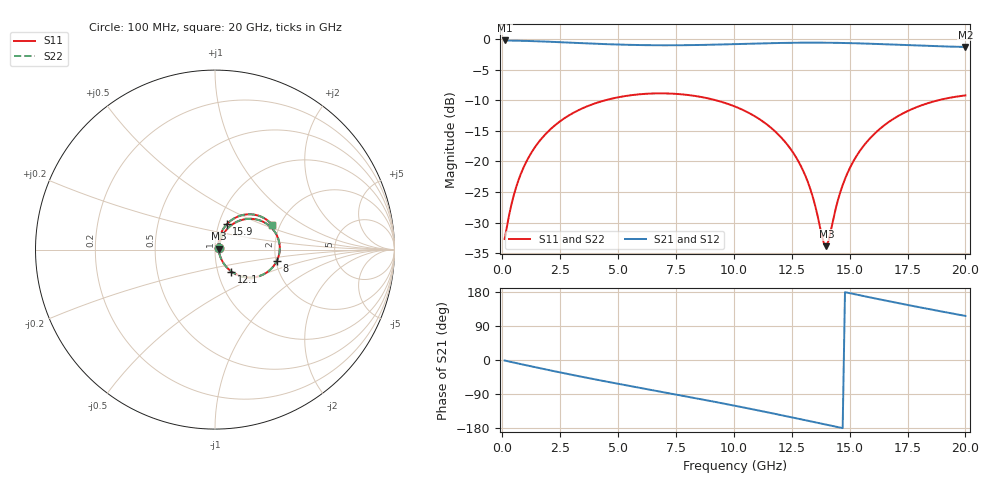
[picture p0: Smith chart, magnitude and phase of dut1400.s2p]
! Touchstone file exported from HFSS 2026.1.0
!  File:  C:/ffzhzh/LocalFiles/Ansys_Project_Files/temp_train_TSV_RDL_1400_1783351535_48288.aedt
!  Generated:  11:37:50 PM Jul  6, 2026
!  Design:  TSV_RDL
!  Project:  temp_train_TSV_RDL_1400_1783351535_48288
! Variables:
!  h_bsmrdl = 5.31um
!  h_ox = 20um
!  h_rdl = 5um
!  h_sub = 96.93um
!  h_tmrdl = 5.77um
!  h_tsv = 96.93um
!  h_via = 3um
!  l_bsmrdl = 519.03um
!  l_sub = 3790.12um
!  l_tmrdl = 441.48um
!  m_sub = 200um
!  pitch = 26.66um
!  r_tsv = 7.79um
!  s_tmrdl = 10um
!  w_bsmrdl = 11.93um
!  w_sub = 500um
!  w_tmrdl = 10.44um
!  x_tsv_center1 = 446.7um
!  x_tsv_center2 = 977.66um
!  x_tsv_center3 = 1429.58um
!  x_tsv_center4 = 1960.54um
!  x_tsv_center5 = 2412.46um
!  x_tsv_center6 = 2943.42um
# GHz S MA R 50.000000
! Terminal data exported
! Port[1] = TM_RDL1_1_T1
! Port[2] = TM_RDL5_1_T1
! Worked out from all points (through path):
!   200 points, 100 MHz to 20 GHz, reference 50 ohm
!   highest |S21| = -0.18 dB at 100 MHz (marker M1); lowest = -1.2 dB at 20 GHz (marker M2)
!   group delay of S21, straight-line fit = 33.7 ps
!   lowest |S11| = -33.9 dB at 14 GHz (marker M3), VSWR 1.04, Z = 52 + j0.459 ohm
!   |S11| at or under -10 dB: start of sweep to 4.423 GHz; 9.249 GHz to 18.8 GHz (9.554 GHz wide, 68.1 % of centre)
!   |S22| runs from -33.9 to -8.8 dB; largest |S21 - S12| = 3e-14
!   S11 on the Smith chart (normalised r, x): 100 MHz: 1.04, +0.02; 8 GHz: 2.03, -0.29; 12.1 GHz: 1.16, -0.29; 15.9 GHz: 1.09, +0.32; 20 GHz: 1.83, +0.56
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0.1  0.02318 24.9  0.9792 -1.4  0.9792 -1.4  0.02318 24.9
! Gamma 0 0 0 0
! Port Impedance 50 0 50 0
0.6  0.0618 59.8  0.9751 -8.2  0.9751 -8.2  0.0618 59.8
1.2  0.1133 61.0  0.9685 -16.1  0.9685 -16.1  0.1133 61.0
2.2  0.1924 52.5  0.953 -29.0  0.953 -29.0  0.1924 52.5
3.5  0.2745 38.4  0.9294 -45.1  0.9294 -45.1  0.2745 38.4
5.1  0.3381 20.9  0.9054 -63.9  0.9054 -63.9  0.3381 20.9
6.8  0.3612 2.6  0.8941 -83.2  0.8941 -83.2  0.3612 2.6
8  0.3506 -10.1  0.8961 -96.8  0.8961 -96.8  0.3506 -10.1
10.1  0.2792 -32.7  0.9144 -121.4  0.9144 -121.4  0.2792 -32.7
11.2  0.216 -44.5  0.9266 -134.9  0.9266 -134.9  0.216 -44.5
12.1  0.1532 -53.1  0.9347 -146.2  0.9347 -146.2  0.1531 -53.2
12.9  0.09136 -57.8  0.9389 -156.5  0.9389 -156.5  0.09131 -57.9
13.4  0.05197 -54.0  0.9396 -162.9  0.9396 -162.9  0.05191 -54.1
13.9  0.02099 -9.6  0.9388 -169.4  0.9388 -169.4  0.02087 -9.6
14  0.02026 12.6  0.9384 -170.7  0.9384 -170.7  0.02015 12.7
14.5  0.04862 65.1  0.9356 -177.2  0.9356 -177.2  0.04859 65.2
14.8  0.07189 69.5  0.9332 179.0  0.9332 179.0  0.07188 69.7
15.3  0.111 69.2  0.9281 172.6  0.9281 172.6  0.111 69.3
15.9  0.1562 64.9  0.9205 165.0  0.9205 165.0  0.1562 65.0
16.7  0.2112 57.4  0.9087 155.0  0.9087 155.0  0.2112 57.4
18.2  0.2925 41.7  0.8858 137.0  0.8858 137.0  0.2925 41.8
20  0.3473 22.8  0.8665 116.3  0.8665 116.3  0.3473 22.9
